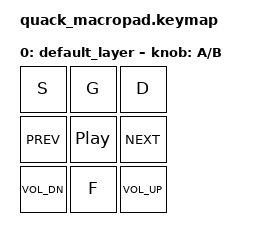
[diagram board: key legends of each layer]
#include <behaviors.dtsi>
#include <dt-bindings/zmk/keys.h>

&default_encoder { status = "okay"; };

/ {
    keymap {
        compatible = "zmk,keymap";

        default_layer {
            bindings = <
                &kp S &kp G &kp D
                &kp C_PREV &kp C_PP &kp C_NEXT
                &kp C_VOL_DN &kp F &kp C_VOL_UP
            >;
            
            sensor-bindings = <&inc_dec_kp A B>;
        };
    };
};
